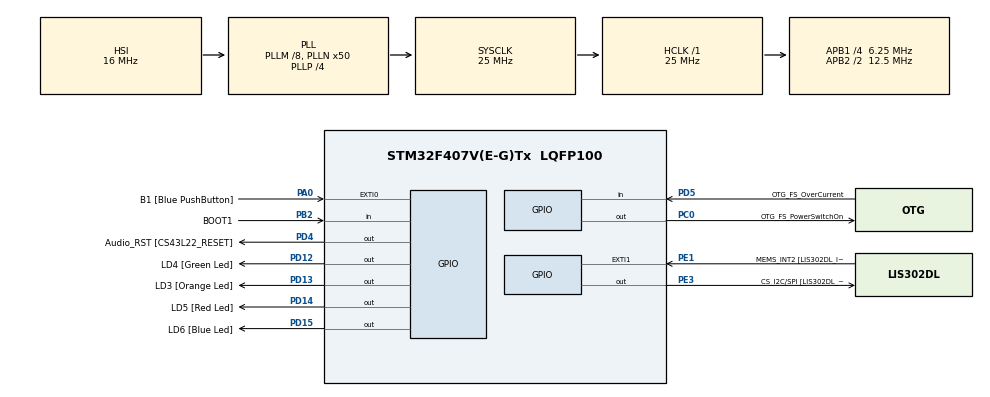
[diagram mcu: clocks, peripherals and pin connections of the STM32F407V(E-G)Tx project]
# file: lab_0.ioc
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Mcu.Family=STM32F4
Mcu.Name=STM32F407V(E-G)Tx
Mcu.Package=LQFP100
NVIC.PriorityGroup=NVIC_PRIORITYGROUP_4
NVIC.TIM7_IRQn=true\:0\:0\:false\:false\:true\:false\:true\:true
NVIC.TimeBase=TIM7_IRQn
NVIC.TimeBaseIP=TIM7
PA0-WKUP.GPIO_Label=B1 [Blue PushButton]
PA0-WKUP.Signal=GPXTI0
PA10.GPIO_Label=OTG_FS_ID
PA10.GPIO_Mode=GPIO_MODE_AF_PP
PA10.GPIO_PuPd=GPIO_NOPULL
PA10.GPIO_Speed=GPIO_SPEED_FREQ_LOW
PA10.Signal=USB_OTG_FS_ID
PA11.GPIO_Label=OTG_FS_DM
PA11.GPIO_Mode=GPIO_MODE_AF_PP
PA11.GPIO_PuPd=GPIO_NOPULL
PA11.GPIO_Speed=GPIO_SPEED_FREQ_LOW
PA11.Signal=USB_OTG_FS_DM
PA12.GPIO_Label=OTG_FS_DP
PA12.GPIO_Mode=GPIO_MODE_AF_PP
PA12.GPIO_PuPd=GPIO_NOPULL
PA12.GPIO_Speed=GPIO_SPEED_FREQ_LOW
PA12.Signal=USB_OTG_FS_DP
PA13.GPIO_Label=SWDIO
PA13.Mode=Serial_Wire
PA13.Signal=SYS_JTMS-SWDIO
PA14.GPIO_Label=SWCLK
PA14.Mode=Serial_Wire
PA14.Signal=SYS_JTCK-SWCLK
PA4.GPIO_Label=I2S3_WS [CS43L22_LRCK]
PA4.GPIO_Mode=GPIO_MODE_AF_PP
PA4.GPIO_PuPd=GPIO_NOPULL
PA4.GPIO_Speed=GPIO_SPEED_FREQ_LOW
PA4.Signal=I2S3_WS
PA5.GPIO_Label=SPI1_SCK [LIS302DL_SCL/SPC]
PA5.GPIO_Mode=GPIO_MODE_AF_PP
PA5.GPIO_PuPd=GPIO_NOPULL
PA5.GPIO_Speed=GPIO_SPEED_FREQ_LOW
PA5.Signal=SPI1_SCK
PA6.GPIO_Label=SPI1_MISO [LIS302DL_SDO]
PA6.GPIO_Mode=GPIO_MODE_AF_PP
PA6.GPIO_PuPd=GPIO_NOPULL
PA6.GPIO_Speed=GPIO_SPEED_FREQ_LOW
PA6.Signal=SPI1_MISO
PA7.GPIO_Label=SPI1_MOSI [LIS302DL_SDA/SDI/SDO]
PA7.GPIO_Mode=GPIO_MODE_AF_PP
PA7.GPIO_PuPd=GPIO_NOPULL
PA7.GPIO_Speed=GPIO_SPEED_FREQ_LOW
PA7.Signal=SPI1_MOSI
PA9.GPIO_Label=VBUS_FS
PA9.GPIO_Mode=GPIO_MODE_INPUT
PA9.GPIO_PuPd=GPIO_NOPULL
PA9.Signal=USB_OTG_FS_VBUS
PB10.GPIO_Label=CLK_IN [MP45DT02_CLK]
PB10.GPIO_Mode=GPIO_MODE_AF_PP
PB10.GPIO_PuPd=GPIO_NOPULL
PB10.GPIO_Speed=GPIO_SPEED_FREQ_LOW
PB10.Signal=I2S2_CK
PB2.GPIO_Label=BOOT1
PB2.GPIO_Mode=GPIO_MODE_INPUT
PB2.GPIO_PuPd=GPIO_NOPULL
PB2.Signal=GPIO_Input
PB3.GPIO_Label=SWO
PB3.Signal=SYS_JTDO-SWO
PB6.GPIO_Label=Audio_SCL [CS43L22_SCL]
PB6.GPIO_Mode=GPIO_MODE_AF_OD
PB6.GPIO_PuPd=GPIO_NOPULL
PB6.GPIO_Speed=GPIO_SPEED_FREQ_LOW
PB6.Signal=I2C1_SCL
PB9.GPIO_Label=Audio_SDA [CS43L22_SDA]
PB9.GPIO_Mode=GPIO_MODE_AF_OD
PB9.GPIO_PuPd=GPIO_NOPULL
PB9.GPIO_Speed=GPIO_SPEED_FREQ_LOW
PB9.Signal=I2C1_SDA
PC0.GPIO_Label=OTG_FS_PowerSwitchOn
PC0.GPIO_PuPd=GPIO_NOPULL
PC0.GPIO_Speed=GPIO_SPEED_FREQ_LOW
PC0.PinState=GPIO_PIN_SET
PC0.Signal=GPIO_Output
PC10.GPIO_Label=I2S3_SCK [CS43L22_SCLK]
PC10.GPIO_Mode=GPIO_MODE_AF_PP
PC10.GPIO_PuPd=GPIO_NOPULL
PC10.GPIO_Speed=GPIO_SPEED_FREQ_LOW
PC10.Signal=I2S3_CK
PC12.GPIO_Label=I2S3_SD [CS43L22_SDIN]
PC12.GPIO_Mode=GPIO_MODE_AF_PP
PC12.GPIO_PuPd=GPIO_NOPULL
PC12.GPIO_Speed=GPIO_SPEED_FREQ_LOW
PC12.Signal=I2S3_SD
PC14-OSC32_IN.GPIO_Label=PC14-OSC32_IN
PC14-OSC32_IN.Signal=RCC_OSC32_IN
PC15-OSC32_OUT.GPIO_Label=PC15-OSC32_OUT
PC15-OSC32_OUT.Signal=RCC_OSC32_OUT
PC3.GPIO_Label=PDM_OUT [MP45DT02_DOUT]
PC3.GPIO_Mode=GPIO_MODE_AF_PP
PC3.GPIO_PuPd=GPIO_NOPULL
PC3.GPIO_Speed=GPIO_SPEED_FREQ_LOW
PC3.Signal=I2S2_SD
PC7.GPIO_Label=I2S3_MCK [CS43L22_MCLK]
PC7.GPIO_Mode=GPIO_MODE_AF_PP
PC7.GPIO_PuPd=GPIO_NOPULL
PC7.GPIO_Speed=GPIO_SPEED_FREQ_LOW
PC7.Signal=I2S3_MCK
PD12.GPIO_Label=LD4 [Green Led]
PD12.GPIO_PuPd=GPIO_NOPULL
PD12.GPIO_Speed=GPIO_SPEED_FREQ_LOW
PD12.Signal=GPIO_Output
PD13.GPIO_Label=LD3 [Orange Led]
PD13.GPIO_PuPd=GPIO_NOPULL
PD13.GPIO_Speed=GPIO_SPEED_FREQ_LOW
PD13.Signal=GPIO_Output
PD14.GPIO_Label=LD5 [Red Led]
PD14.GPIO_PuPd=GPIO_NOPULL
PD14.GPIO_Speed=GPIO_SPEED_FREQ_LOW
PD14.Signal=GPIO_Output
PD15.GPIO_Label=LD6 [Blue Led]
PD15.GPIO_PuPd=GPIO_NOPULL
PD15.GPIO_Speed=GPIO_SPEED_FREQ_LOW
PD15.Signal=GPIO_Output
PD4.GPIO_Label=Audio_RST [CS43L22_RESET]
PD4.GPIO_PuPd=GPIO_NOPULL
PD4.GPIO_Speed=GPIO_SPEED_FREQ_LOW
PD4.Signal=GPIO_Output
PD5.GPIO_Label=OTG_FS_OverCurrent
PD5.GPIO_Mode=GPIO_MODE_INPUT
PD5.GPIO_PuPd=GPIO_NOPULL
PD5.Signal=GPIO_Input
PE1.GPIO_Label=MEMS_INT2 [LIS302DL_INT2]
PE1.GPIO_ModeDefaultEXTI=GPIO_MODE_EVT_RISING
PE1.GPIO_PuPd=GPIO_NOPULL
PE1.Signal=GPXTI1
PE3.GPIO_Label=CS_I2C/SPI [LIS302DL_CS_I2C/SPI]
PE3.GPIO_PuPd=GPIO_NOPULL
PE3.GPIO_Speed=GPIO_SPEED_FREQ_LOW
PE3.Signal=GPIO_Output
PH0-OSC_IN.GPIO_Label=PH0-OSC_IN
PH0-OSC_IN.Signal=RCC_OSC_IN
PH1-OSC_OUT.GPIO_Label=PH1-OSC_OUT
PH1-OSC_OUT.Signal=RCC_OSC_OUT
ProjectManager.HeapSize=0x200
ProjectManager.StackSize=0x400
ProjectManager.TargetToolchain=STM32CubeIDE
RCC.48MHZClocksFreq_Value=14285714.285714285
RCC.AHBFreq_Value=25000000
RCC.APB1CLKDivider=RCC_HCLK_DIV4
RCC.APB1Freq_Value=6250000
RCC.APB1TimFreq_Value=12500000
RCC.APB2CLKDivider=RCC_HCLK_DIV2
RCC.APB2Freq_Value=12500000
RCC.APB2TimFreq_Value=25000000
RCC.CortexFreq_Value=25000000
RCC.HCLKFreq_Value=25000000
RCC.HSE_VALUE=8000000
RCC.HSI_VALUE=16000000
RCC.LSE_VALUE=32768
RCC.PLLM=8
RCC.PLLN=50
RCC.PLLP=RCC_PLLP_DIV4
RCC.PLLQ=7
RCC.SYSCLKFreq_VALUE=25000000
RCC.SYSCLKSource=RCC_SYSCLKSOURCE_PLLCLK
RCC.VCOOutputFreq_Value=100000000
VP_SYS_VS_tim7.Mode=TIM7
board=STM32F407G-DISC1

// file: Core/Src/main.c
/* USER CODE BEGIN Header */
/**
  ******************************************************************************
  * @file           : main.c
  * @brief          : Main program body
  ******************************************************************************
  * @attention
  *
  * Copyright (c) 2022 STMicroelectronics.
  * All rights reserved.
  *
  * This software is licensed under terms that can be found in the LICENSE file
  * in the root directory of this software component.
  * If no LICENSE file comes with this software, it is provided AS-IS.
  *
  ******************************************************************************
  */
/* USER CODE END Header */
#include "main.h"

/* USER CODE BEGIN Includes */
#include"FreeRTOS.h"
#include"task.h"

/* USER CODE END Includes */

void SystemClock_Config(void);
static void MX_GPIO_Init(void);

/* USER CODE BEGIN 0 */
BaseType_t xReturned;
TaskHandle_t xHandle=NULL;

void LED_Task( void ){
	HAL_GPIO_WritePin(GPIOD, GPIO_PIN_12 | GPIO_PIN_13 | GPIO_PIN_14 | GPIO_PIN_15, GPIO_PIN_RESET);
	for(;;){

		HAL_GPIO_WritePin(GPIOD, GPIO_PIN_12, GPIO_PIN_SET );
		vTaskDelay(500);
		HAL_GPIO_WritePin(GPIOD, GPIO_PIN_12, GPIO_PIN_RESET );
		vTaskDelay(500);
	}
}
/* USER CODE END 0 */

int main(void)
{

  /* MCU Configuration--------------------------------------------------------*/

  /* Reset of all peripherals, Initializes the Flash interface and the Systick. */
  HAL_Init();

  /* Configure the system clock */
  SystemClock_Config();

  /* Initialize all configured peripherals */
  MX_GPIO_Init();
  /* USER CODE BEGIN 2 */
  xTaskCreate(
		  LED_Task,
		  "NAME",
		  128,
		  NULL,
		  1,
		  &xHandle);

  vTaskStartScheduler();
  /* USER CODE END 2 */

  /* Infinite loop */
  while (1)
  {

  }
}

void SystemClock_Config(void)
{
  RCC_OscInitTypeDef RCC_OscInitStruct = {0};
  RCC_ClkInitTypeDef RCC_ClkInitStruct = {0};

  /** Configure the main internal regulator output voltage
  */
  __HAL_RCC_PWR_CLK_ENABLE();
  __HAL_PWR_VOLTAGESCALING_CONFIG(PWR_REGULATOR_VOLTAGE_SCALE1);
  /** Initializes the RCC Oscillators according to the specified parameters
  * in the RCC_OscInitTypeDef structure.
  */
  RCC_OscInitStruct.OscillatorType = RCC_OSCILLATORTYPE_HSI;
  RCC_OscInitStruct.HSIState = RCC_HSI_ON;
  RCC_OscInitStruct.HSICalibrationValue = RCC_HSICALIBRATION_DEFAULT;
  RCC_OscInitStruct.PLL.PLLState = RCC_PLL_ON;
  RCC_OscInitStruct.PLL.PLLSource = RCC_PLLSOURCE_HSI;
  RCC_OscInitStruct.PLL.PLLM = 8;
  RCC_OscInitStruct.PLL.PLLN = 50;
  RCC_OscInitStruct.PLL.PLLP = RCC_PLLP_DIV4;
  RCC_OscInitStruct.PLL.PLLQ = 7;
  if (HAL_RCC_OscConfig(&RCC_OscInitStruct) != HAL_OK)
  {
    Error_Handler();
  }
  /** Initializes the CPU, AHB and APB buses clocks
  */
  RCC_ClkInitStruct.ClockType = RCC_CLOCKTYPE_HCLK|RCC_CLOCKTYPE_SYSCLK
                              |RCC_CLOCKTYPE_PCLK1|RCC_CLOCKTYPE_PCLK2;
  RCC_ClkInitStruct.SYSCLKSource = RCC_SYSCLKSOURCE_PLLCLK;
  RCC_ClkInitStruct.AHBCLKDivider = RCC_SYSCLK_DIV1;
  RCC_ClkInitStruct.APB1CLKDivider = RCC_HCLK_DIV4;
  RCC_ClkInitStruct.APB2CLKDivider = RCC_HCLK_DIV2;

  if (HAL_RCC_ClockConfig(&RCC_ClkInitStruct, FLASH_LATENCY_0) != HAL_OK)
  {
    Error_Handler();
  }
}

static void MX_GPIO_Init(void)
{
  GPIO_InitTypeDef GPIO_InitStruct = {0};

  /* GPIO Ports Clock Enable */
  __HAL_RCC_GPIOE_CLK_ENABLE();
  __HAL_RCC_GPIOC_CLK_ENABLE();
  __HAL_RCC_GPIOH_CLK_ENABLE();
  __HAL_RCC_GPIOA_CLK_ENABLE();
  __HAL_RCC_GPIOB_CLK_ENABLE();
  __HAL_RCC_GPIOD_CLK_ENABLE();

  /*Configure GPIO pin Output Level */
  HAL_GPIO_WritePin(CS_I2C_SPI_GPIO_Port, CS_I2C_SPI_Pin, GPIO_PIN_RESET);

  /*Configure GPIO pin Output Level */
  HAL_GPIO_WritePin(OTG_FS_PowerSwitchOn_GPIO_Port, OTG_FS_PowerSwitchOn_Pin, GPIO_PIN_SET);

  /*Configure GPIO pin Output Level */
  HAL_GPIO_WritePin(GPIOD, LD4_Pin|LD3_Pin|LD5_Pin|LD6_Pin
                          |Audio_RST_Pin, GPIO_PIN_RESET);

  /*Configure GPIO pin : CS_I2C_SPI_Pin */
  GPIO_InitStruct.Pin = CS_I2C_SPI_Pin;
  GPIO_InitStruct.Mode = GPIO_MODE_OUTPUT_PP;
  GPIO_InitStruct.Pull = GPIO_NOPULL;
  GPIO_InitStruct.Speed = GPIO_SPEED_FREQ_LOW;
  HAL_GPIO_Init(CS_I2C_SPI_GPIO_Port, &GPIO_InitStruct);

  /*Configure GPIO pin : OTG_FS_PowerSwitchOn_Pin */
  GPIO_InitStruct.Pin = OTG_FS_PowerSwitchOn_Pin;
  GPIO_InitStruct.Mode = GPIO_MODE_OUTPUT_PP;
  GPIO_InitStruct.Pull = GPIO_NOPULL;
  GPIO_InitStruct.Speed = GPIO_SPEED_FREQ_LOW;
  HAL_GPIO_Init(OTG_FS_PowerSwitchOn_GPIO_Port, &GPIO_InitStruct);

  /*Configure GPIO pin : PDM_OUT_Pin */
  GPIO_InitStruct.Pin = PDM_OUT_Pin;
  GPIO_InitStruct.Mode = GPIO_MODE_AF_PP;
  GPIO_InitStruct.Pull = GPIO_NOPULL;
  GPIO_InitStruct.Speed = GPIO_SPEED_FREQ_LOW;
  GPIO_InitStruct.Alternate = GPIO_AF5_SPI2;
  HAL_GPIO_Init(PDM_OUT_GPIO_Port, &GPIO_InitStruct);

  /*Configure GPIO pin : B1_Pin */
  GPIO_InitStruct.Pin = B1_Pin;
  GPIO_InitStruct.Mode = GPIO_MODE_IT_RISING;
  GPIO_InitStruct.Pull = GPIO_NOPULL;
  HAL_GPIO_Init(B1_GPIO_Port, &GPIO_InitStruct);

  /*Configure GPIO pin : I2S3_WS_Pin */
  GPIO_InitStruct.Pin = I2S3_WS_Pin;
  GPIO_InitStruct.Mode = GPIO_MODE_AF_PP;
  GPIO_InitStruct.Pull = GPIO_NOPULL;
  GPIO_InitStruct.Speed = GPIO_SPEED_FREQ_LOW;
  GPIO_InitStruct.Alternate = GPIO_AF6_SPI3;
  HAL_GPIO_Init(I2S3_WS_GPIO_Port, &GPIO_InitStruct);

  /*Configure GPIO pins : SPI1_SCK_Pin SPI1_MISO_Pin SPI1_MOSI_Pin */
  GPIO_InitStruct.Pin = SPI1_SCK_Pin|SPI1_MISO_Pin|SPI1_MOSI_Pin;
  GPIO_InitStruct.Mode = GPIO_MODE_AF_PP;
  GPIO_InitStruct.Pull = GPIO_NOPULL;
  GPIO_InitStruct.Speed = GPIO_SPEED_FREQ_LOW;
  GPIO_InitStruct.Alternate = GPIO_AF5_SPI1;
  HAL_GPIO_Init(GPIOA, &GPIO_InitStruct);

  /*Configure GPIO pin : BOOT1_Pin */
  GPIO_InitStruct.Pin = BOOT1_Pin;
  GPIO_InitStruct.Mode = GPIO_MODE_INPUT;
  GPIO_InitStruct.Pull = GPIO_NOPULL;
  HAL_GPIO_Init(BOOT1_GPIO_Port, &GPIO_InitStruct);

  /*Configure GPIO pin : CLK_IN_Pin */
  GPIO_InitStruct.Pin = CLK_IN_Pin;
  GPIO_InitStruct.Mode = GPIO_MODE_AF_PP;
  GPIO_InitStruct.Pull = GPIO_NOPULL;
  GPIO_InitStruct.Speed = GPIO_SPEED_FREQ_LOW;
  GPIO_InitStruct.Alternate = GPIO_AF5_SPI2;
  HAL_GPIO_Init(CLK_IN_GPIO_Port, &GPIO_InitStruct);

  /*Configure GPIO pins : LD4_Pin LD3_Pin LD5_Pin LD6_Pin
                           Audio_RST_Pin */
  GPIO_InitStruct.Pin = LD4_Pin|LD3_Pin|LD5_Pin|LD6_Pin
                          |Audio_RST_Pin;
  GPIO_InitStruct.Mode = GPIO_MODE_OUTPUT_PP;
  GPIO_InitStruct.Pull = GPIO_NOPULL;
  GPIO_InitStruct.Speed = GPIO_SPEED_FREQ_LOW;
  HAL_GPIO_Init(GPIOD, &GPIO_InitStruct);

  /*Configure GPIO pins : I2S3_MCK_Pin I2S3_SCK_Pin I2S3_SD_Pin */
  GPIO_InitStruct.Pin = I2S3_MCK_Pin|I2S3_SCK_Pin|I2S3_SD_Pin;
  GPIO_InitStruct.Mode = GPIO_MODE_AF_PP;
  GPIO_InitStruct.Pull = GPIO_NOPULL;
  GPIO_InitStruct.Speed = GPIO_SPEED_FREQ_LOW;
  GPIO_InitStruct.Alternate = GPIO_AF6_SPI3;
  HAL_GPIO_Init(GPIOC, &GPIO_InitStruct);

  /*Configure GPIO pin : VBUS_FS_Pin */
  GPIO_InitStruct.Pin = VBUS_FS_Pin;
  GPIO_InitStruct.Mode = GPIO_MODE_INPUT;
  GPIO_InitStruct.Pull = GPIO_NOPULL;
  HAL_GPIO_Init(VBUS_FS_GPIO_Port, &GPIO_InitStruct);

  /*Configure GPIO pins : OTG_FS_ID_Pin OTG_FS_DM_Pin OTG_FS_DP_Pin */
  GPIO_InitStruct.Pin = OTG_FS_ID_Pin|OTG_FS_DM_Pin|OTG_FS_DP_Pin;
  GPIO_InitStruct.Mode = GPIO_MODE_AF_PP;
  GPIO_InitStruct.Pull = GPIO_NOPULL;
  GPIO_InitStruct.Speed = GPIO_SPEED_FREQ_LOW;
  GPIO_InitStruct.Alternate = GPIO_AF10_OTG_FS;
  HAL_GPIO_Init(GPIOA, &GPIO_InitStruct);

  /*Configure GPIO pin : OTG_FS_OverCurrent_Pin */
  GPIO_InitStruct.Pin = OTG_FS_OverCurrent_Pin;
  GPIO_InitStruct.Mode = GPIO_MODE_INPUT;
  GPIO_InitStruct.Pull = GPIO_NOPULL;
  HAL_GPIO_Init(OTG_FS_OverCurrent_GPIO_Port, &GPIO_InitStruct);

  /*Configure GPIO pins : Audio_SCL_Pin Audio_SDA_Pin */
  GPIO_InitStruct.Pin = Audio_SCL_Pin|Audio_SDA_Pin;
  GPIO_InitStruct.Mode = GPIO_MODE_AF_OD;
  GPIO_InitStruct.Pull = GPIO_NOPULL;
  GPIO_InitStruct.Speed = GPIO_SPEED_FREQ_LOW;
  GPIO_InitStruct.Alternate = GPIO_AF4_I2C1;
  HAL_GPIO_Init(GPIOB, &GPIO_InitStruct);

  /*Configure GPIO pin : MEMS_INT2_Pin */
  GPIO_InitStruct.Pin = MEMS_INT2_Pin;
  GPIO_InitStruct.Mode = GPIO_MODE_EVT_RISING;
  GPIO_InitStruct.Pull = GPIO_NOPULL;
  HAL_GPIO_Init(MEMS_INT2_GPIO_Port, &GPIO_InitStruct);

}

void HAL_TIM_PeriodElapsedCallback(TIM_HandleTypeDef *htim)
{
  if (htim->Instance == TIM7) {
    HAL_IncTick();
  }
}

void Error_Handler(void)
{
  __disable_irq();
  while (1)
  {
  }
}
